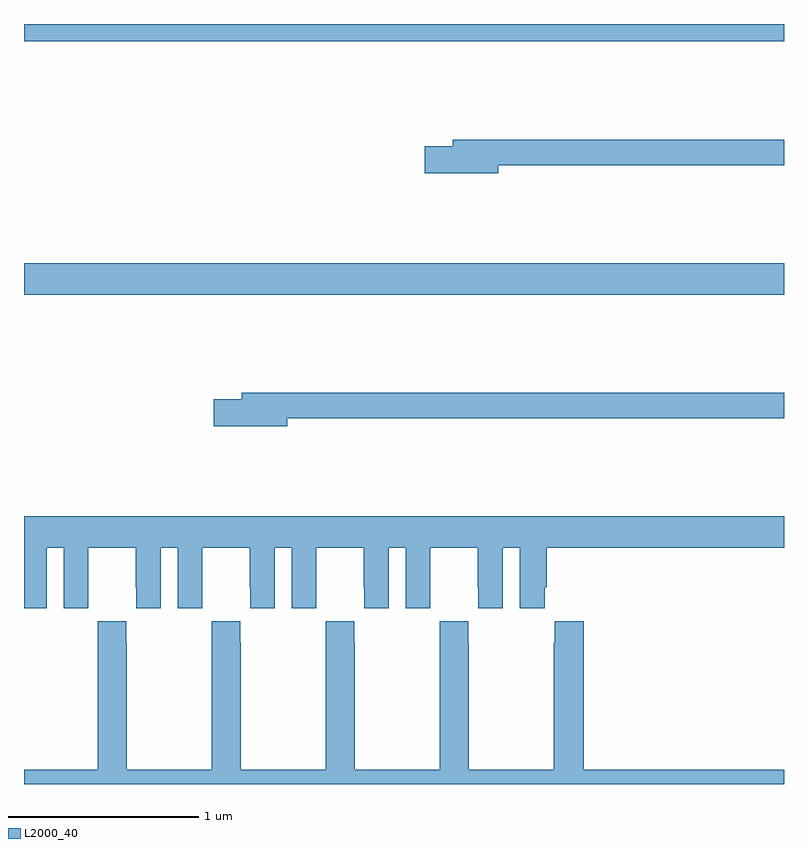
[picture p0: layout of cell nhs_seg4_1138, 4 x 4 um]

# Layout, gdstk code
import gdstk
lib = gdstk.Library(unit=1e-6, precision=1e-09)
def R(c, l, rs):  # rectangles x0, y0, x1, y1
    for r in rs: c.add(gdstk.rectangle(r[:2], r[2:], *l))
def P(c, l, *ps):  # polygons
    for p in ps: c.add(gdstk.Polygon(p, *l))
L2000_40 = (2000, 40)

nhs_seg4_1138 = lib.new_cell('nhs_seg4_1138')
R(nhs_seg4_1138, L2000_40, [(169,807.476,173,807.64), (169,808.808,173,808.9)])
P(nhs_seg4_1138, L2000_40, [(171.496,808.156),(173,808.156),(173,808.292),(171.257,808.292),(171.257,808.256),(171.108,808.256),(171.108,808.114),(171.496,808.114)],
  [(170.386,806.824),(173,806.824),(173,806.96),(170.147,806.96),(170.147,806.924),(169.998,806.924),(169.998,806.782),(170.386,806.782)],
  [(169,805.824),(169.12,805.824),(169.12,806.144),(169.208,806.144),(169.208,805.824),(169.338,805.824),(169.338,805.936),(169.339,805.936),(169.339,806.144),(169.589,806.144),(169.589,805.936),(169.59,805.936),(169.59,805.824),(169.72,805.824),(169.72,806.144),(169.808,806.144),(169.808,805.824),(169.938,805.824),(169.938,805.936),(169.939,805.936),(169.939,806.144),(170.189,806.144),(170.189,805.936),(170.19,805.936),(170.19,805.824),(170.32,805.824),(170.32,806.144),(170.408,806.144),(170.408,805.824),(170.538,805.824),(170.538,805.936),(170.539,805.936),(170.539,806.144),(170.789,806.144),(170.789,805.936),(170.79,805.936),(170.79,805.824),(170.92,805.824),(170.92,806.144),(171.008,806.144),(171.008,805.824),(171.138,805.824),(171.138,805.936),(171.139,805.936),(171.139,806.144),(171.389,806.144),(171.389,805.936),(171.39,805.936),(171.39,805.824),(171.52,805.824),(171.52,806.144),(171.608,806.144),(171.608,805.824),(171.742,805.824),(171.742,805.936),(171.752,805.936),(171.752,806.144),(173,806.144),(173,806.308),(169,806.308)],
  [(169.389,805.756),(169.389,805.643),(169.387,805.643),(169.387,804.976),(169,804.976),(169,804.9),(173,804.9),(173,804.976),(171.947,804.976),(171.947,805.756),(171.793,805.756),(171.793,805.643),(171.787,805.643),(171.787,804.976),(171.342,804.976),(171.342,805.643),(171.339,805.643),(171.339,805.756),(171.189,805.756),(171.189,805.643),(171.187,805.643),(171.187,804.976),(170.742,804.976),(170.742,805.643),(170.739,805.643),(170.739,805.756),(170.589,805.756),(170.589,805.643),(170.587,805.643),(170.587,804.976),(170.142,804.976),(170.142,805.643),(170.139,805.643),(170.139,805.756),(169.989,805.756),(169.989,805.643),(169.987,805.643),(169.987,804.976),(169.542,804.976),(169.542,805.643),(169.539,805.643),(169.539,805.756)])

lib.write_gds('nhs_seg4_1138.gds')
